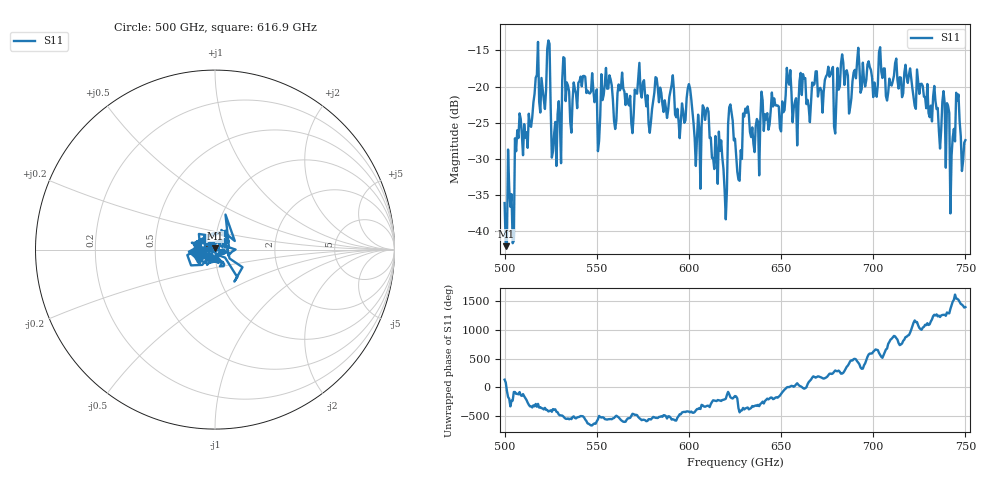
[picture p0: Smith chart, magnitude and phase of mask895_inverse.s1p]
!Created with skrf (http://scikit-rf.org).
# GHz S MA R 50.0
!freq magS11 angS11
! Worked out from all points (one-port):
!   401 points, 500 GHz to 750 GHz, reference 50 ohm
!   lowest |S11| = -42.0 dB at 500.6 GHz (marker M1), VSWR 1.02, Z = 50 + j0.789 ohm
!   |S11| at or under -10 dB: start of sweep to end of sweep
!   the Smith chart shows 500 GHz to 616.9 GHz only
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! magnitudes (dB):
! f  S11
! 500 GHz  -36.1
! 500.6 GHz  -42.0
! 503.8 GHz  -34.9
! 506.9 GHz  -26.0
! 513.8 GHz  -25.4
! 516.9 GHz  -18.8
! 523.8 GHz  -13.6
! 526.9 GHz  -26.5
! 531.2 GHz  -19.1
! 542.5 GHz  -18.5
! 550.6 GHz  -28.9
! 562.5 GHz  -20.5
! 579.4 GHz  -24.9
! 590.6 GHz  -19.8
! 593.8 GHz  -23.1
! 600 GHz  -19.6
! 605 GHz  -23.9
! 609.4 GHz  -23.4
! 619.4 GHz  -34.4
! 622.5 GHz  -22.5
! 625 GHz  -27.2
! 656.2 GHz  -24.9
! 676.9 GHz  -18.3
! 680 GHz  -21.9
! 683.8 GHz  -16.7
! 687.5 GHz  -22.9
! 718.8 GHz  -19.5
! 750 GHz  -27.4
